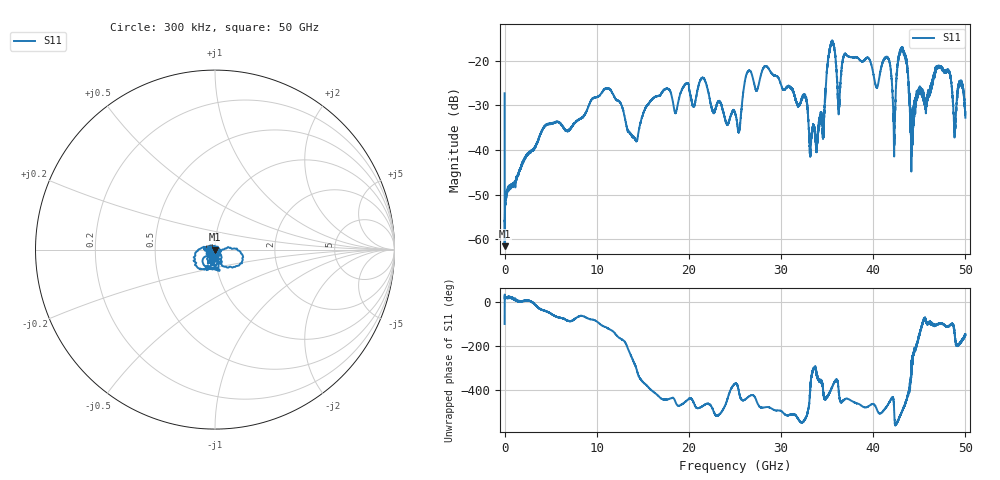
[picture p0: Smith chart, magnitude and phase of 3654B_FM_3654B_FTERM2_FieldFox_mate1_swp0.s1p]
!Created with skrf (http://scikit-rf.org).
# Hz S RI R 50.0
!freq ReS11 ImS11
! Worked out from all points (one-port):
!   10001 points, 300 kHz to 50 GHz, reference 50 ohm
!   lowest |S11| = -61.6 dB at 5.3 MHz (marker M1), VSWR 1.00, Z = 50.1 - j0.0468 ohm
!   |S11| at or under -10 dB: start of sweep to end of sweep
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300000  -0.00664 -0.0428
5299970  0.00069 -0.000467
2.552985e8  0.00298 0.00117
6.250262e9  0.0056 -0.018
1.250022e10  -0.033 -0.01
1.419521e10  0.00389 0.0124
1.61652e10  0.0262 -0.0281
1.875019e10  -0.0095 -0.0295
2.149017e10  -0.023 -0.0603
2.500015e10  0.0264 -0.00437
2.546515e10  0.00992 -0.0129
2.650514e10  0.0292 -0.0718
3.125011e10  -0.0411 -0.0246
3.38351e10  0.00827 0.00829
3.460509e10  0.00864 -0.0138
3.542009e10  0.1262 -0.0908
3.627508e10  0.0229 -0.0213
3.750008e10  0.0123 -0.1094
4.037506e10  -0.0279 -0.0414
4.154005e10  -0.0338 -0.1051
4.225005e10  -0.00438 -0.0095
4.296004e10  -0.1195 -0.0615
4.375004e10  0.0356 -0.0642
4.420503e10  0.00235 0.0133
4.707002e10  -0.0128 -0.0834
4.882501e10  -0.0129 -0.0116
4.9445e10  -0.057 0.00331
5e10  -0.0189 -0.0131
